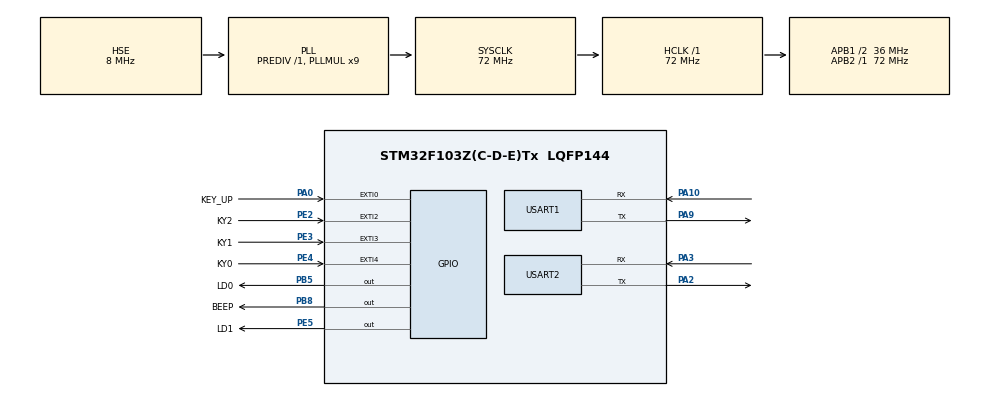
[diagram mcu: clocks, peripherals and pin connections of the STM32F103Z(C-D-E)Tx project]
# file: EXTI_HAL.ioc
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Mcu.Family=STM32F1
Mcu.Name=STM32F103Z(C-D-E)Tx
Mcu.Package=LQFP144
NVIC.EXTI0_IRQn=true\:2\:0\:true\:false\:true\:true\:true
NVIC.EXTI2_IRQn=true\:3\:0\:true\:false\:true\:true\:true
NVIC.EXTI3_IRQn=true\:4\:0\:true\:false\:true\:true\:true
NVIC.EXTI4_IRQn=true\:5\:0\:true\:false\:true\:true\:true
NVIC.PriorityGroup=NVIC_PRIORITYGROUP_4
NVIC.USART1_IRQn=true\:0\:0\:false\:false\:true\:true\:true
NVIC.USART2_IRQn=true\:0\:0\:false\:false\:true\:true\:true
OSC_IN.Mode=HSE-External-Oscillator
OSC_IN.Signal=RCC_OSC_IN
OSC_OUT.Mode=HSE-External-Oscillator
OSC_OUT.Signal=RCC_OSC_OUT
PA0-WKUP.GPIO_Label=KEY_UP
PA0-WKUP.GPIO_PuPd=GPIO_PULLDOWN
PA0-WKUP.Signal=GPXTI0
PA10.Mode=Asynchronous
PA10.Signal=USART1_RX
PA13.Mode=Serial_Wire
PA13.Signal=SYS_JTMS-SWDIO
PA14.Mode=Serial_Wire
PA14.Signal=SYS_JTCK-SWCLK
PA2.Mode=Asynchronous
PA2.Signal=USART2_TX
PA3.Mode=Asynchronous
PA3.Signal=USART2_RX
PA9.Mode=Asynchronous
PA9.Signal=USART1_TX
PB5.GPIO_Label=LD0
PB5.GPIO_PuPd=GPIO_PULLUP
PB5.Signal=GPIO_Output
PB8.GPIO_Label=BEEP
PB8.GPIO_PuPd=GPIO_PULLUP
PB8.Signal=GPIO_Output
PE2.GPIO_Label=KY2
PE2.GPIO_ModeDefaultEXTI=GPIO_MODE_IT_FALLING
PE2.GPIO_PuPd=GPIO_PULLUP
PE2.Signal=GPXTI2
PE3.GPIO_Label=KY1
PE3.GPIO_ModeDefaultEXTI=GPIO_MODE_IT_FALLING
PE3.GPIO_PuPd=GPIO_PULLUP
PE3.Signal=GPXTI3
PE4.GPIO_Label=KY0
PE4.GPIO_ModeDefaultEXTI=GPIO_MODE_IT_FALLING
PE4.GPIO_PuPd=GPIO_PULLUP
PE4.Signal=GPXTI4
PE5.GPIO_Label=LD1
PE5.GPIO_PuPd=GPIO_PULLUP
PE5.Signal=GPIO_Output
ProjectManager.HeapSize=0x200
ProjectManager.StackSize=0x400
ProjectManager.TargetToolchain=MDK-ARM V5
RCC.AHBFreq_Value=72000000
RCC.APB1CLKDivider=RCC_HCLK_DIV2
RCC.APB1Freq_Value=36000000
RCC.APB1TimFreq_Value=72000000
RCC.APB2Freq_Value=72000000
RCC.APB2TimFreq_Value=72000000
RCC.HCLKFreq_Value=72000000
RCC.PLLMUL=RCC_PLL_MUL9
RCC.PLLSourceVirtual=RCC_PLLSOURCE_HSE
RCC.SYSCLKFreq_VALUE=72000000
RCC.SYSCLKSource=RCC_SYSCLKSOURCE_PLLCLK
RCC.USBFreq_Value=72000000
USART1.VirtualMode=VM_ASYNC
USART2.VirtualMode=VM_ASYNC
board=custom

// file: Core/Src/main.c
/* USER CODE BEGIN Header */
/**
  ******************************************************************************
  * @file           : main.c
  * @brief          : Main program body
  ******************************************************************************
  * @attention
  *
  * Copyright (c) 2022 STMicroelectronics.
  * All rights reserved.
  *
  * This software is licensed under terms that can be found in the LICENSE file
  * in the root directory of this software component.
  * If no LICENSE file comes with this software, it is provided AS-IS.
  *
  ******************************************************************************
  */
/* USER CODE END Header */
#include "main.h"
#include "usart.h"
#include "gpio.h"

void SystemClock_Config(void);

int main(void)
{

  /* MCU Configuration--------------------------------------------------------*/

  /* Reset of all peripherals, Initializes the Flash interface and the Systick. */
  HAL_Init();

  /* Configure the system clock */
  SystemClock_Config();

  /* Initialize all configured peripherals */
  MX_GPIO_Init();
  MX_USART2_UART_Init();
  MX_USART1_UART_Init();

  /* Infinite loop */
  while (1)
  {

  }
}

void SystemClock_Config(void)
{
  RCC_OscInitTypeDef RCC_OscInitStruct = {0};
  RCC_ClkInitTypeDef RCC_ClkInitStruct = {0};

  /** Initializes the RCC Oscillators according to the specified parameters
  * in the RCC_OscInitTypeDef structure.
  */
  RCC_OscInitStruct.OscillatorType = RCC_OSCILLATORTYPE_HSE;
  RCC_OscInitStruct.HSEState = RCC_HSE_ON;
  RCC_OscInitStruct.HSEPredivValue = RCC_HSE_PREDIV_DIV1;
  RCC_OscInitStruct.HSIState = RCC_HSI_ON;
  RCC_OscInitStruct.PLL.PLLState = RCC_PLL_ON;
  RCC_OscInitStruct.PLL.PLLSource = RCC_PLLSOURCE_HSE;
  RCC_OscInitStruct.PLL.PLLMUL = RCC_PLL_MUL9;
  if (HAL_RCC_OscConfig(&RCC_OscInitStruct) != HAL_OK)
  {
    Error_Handler();
  }
  /** Initializes the CPU, AHB and APB buses clocks
  */
  RCC_ClkInitStruct.ClockType = RCC_CLOCKTYPE_HCLK|RCC_CLOCKTYPE_SYSCLK
                              |RCC_CLOCKTYPE_PCLK1|RCC_CLOCKTYPE_PCLK2;
  RCC_ClkInitStruct.SYSCLKSource = RCC_SYSCLKSOURCE_PLLCLK;
  RCC_ClkInitStruct.AHBCLKDivider = RCC_SYSCLK_DIV1;
  RCC_ClkInitStruct.APB1CLKDivider = RCC_HCLK_DIV2;
  RCC_ClkInitStruct.APB2CLKDivider = RCC_HCLK_DIV1;

  if (HAL_RCC_ClockConfig(&RCC_ClkInitStruct, FLASH_LATENCY_2) != HAL_OK)
  {
    Error_Handler();
  }
}

/* USER CODE BEGIN 4 */
void HAL_GPIO_EXTI_Callback(uint16_t GPIO_Pin)
{
  switch (GPIO_Pin)
  {
    case KY0_Pin:
    {
      BEEP_Turn_On();
      LOG("KEY0 PRESSED");
      break;
    }
    case KY1_Pin:
    {
      LED1_Turn_On();
      LOG("KEY1 PRESSED");
      break;
    }
    case KY2_Pin:
    {
      BEEP_Turn_Off();
      LOG("KEY2 PRESSED");
      break;
    }
    case KEY_UP_Pin:
    {
      LED1_Turn_Off();
      LOG("KEY_UP PRESSED");
      break;
    }
  }
}
/* USER CODE END 4 */

void Error_Handler(void)
{
  __disable_irq();
  while (1)
  {
  }
}
